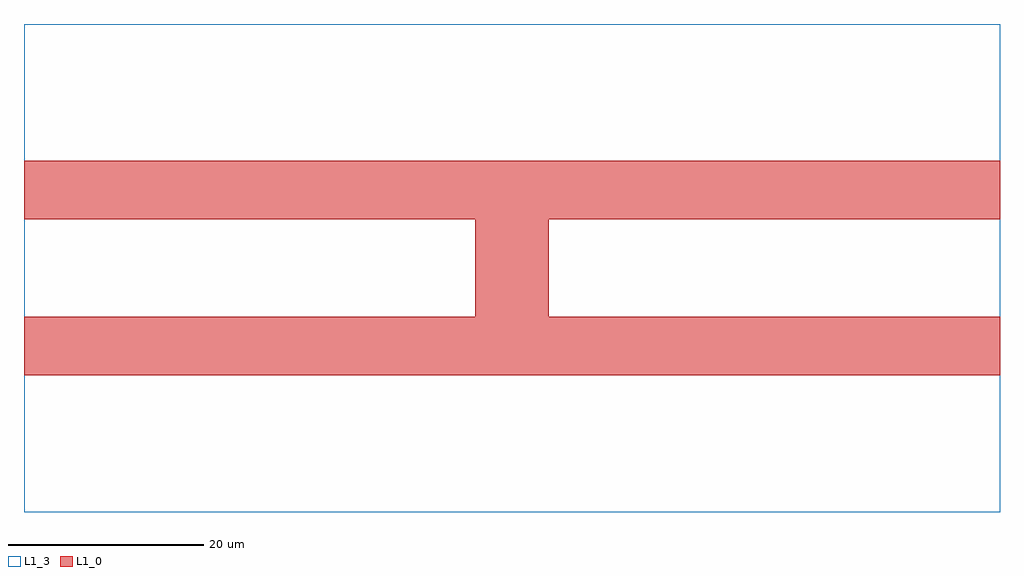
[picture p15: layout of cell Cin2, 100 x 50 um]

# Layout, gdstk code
import gdstk
lib = gdstk.Library(unit=1e-6, precision=1e-09)
def R(c, l, rs):  # rectangles x0, y0, x1, y1
    for r in rs: c.add(gdstk.rectangle(r[:2], r[2:], *l))
L1_0 = (1, 0)
L1_3 = (1, 3)

cin2 = lib.new_cell('Cin2')
R(cin2, L1_0, [(-50,-11,50,-5), (-50,-11,50,-5), (-3.75,-5,3.75,5), (-50,5,50,11), (-50,5,50,11)])
R(cin2, L1_3, [(-50,-25,50,25)])

lib.write_gds('Cin2.gds')
